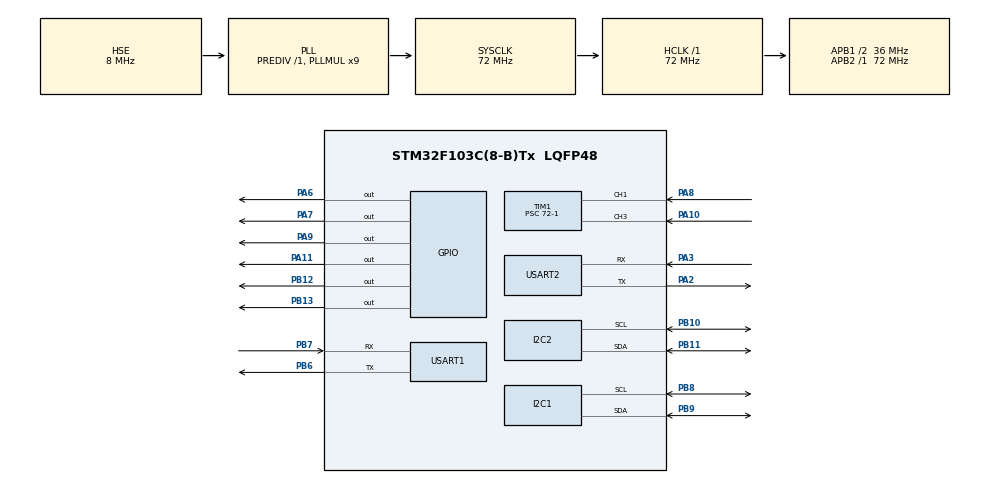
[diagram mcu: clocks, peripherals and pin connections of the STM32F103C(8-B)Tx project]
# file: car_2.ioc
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I2C1.I2C_Mode=I2C_Fast
I2C2.I2C_Mode=I2C_Fast
Mcu.Family=STM32F1
Mcu.Name=STM32F103C(8-B)Tx
Mcu.Package=LQFP48
NVIC.PriorityGroup=NVIC_PRIORITYGROUP_4
NVIC.TIM1_CC_IRQn=true\:0\:0\:false\:false\:true\:true\:true\:true
NVIC.USART1_IRQn=true\:0\:0\:false\:false\:true\:true\:true\:true
NVIC.USART2_IRQn=true\:0\:0\:false\:false\:true\:true\:true\:true
PA10.Signal=S_TIM1_CH3
PA11.Signal=GPIO_Output
PA13.Mode=Serial_Wire
PA13.Signal=SYS_JTMS-SWDIO
PA14.Mode=Serial_Wire
PA14.Signal=SYS_JTCK-SWCLK
PA2.Mode=Asynchronous
PA2.Signal=USART2_TX
PA3.Mode=Asynchronous
PA3.Signal=USART2_RX
PA6.Signal=GPIO_Output
PA7.Signal=GPIO_Output
PA8.Signal=S_TIM1_CH1
PA9.Signal=GPIO_Output
PB10.Mode=I2C
PB10.Signal=I2C2_SCL
PB11.Mode=I2C
PB11.Signal=I2C2_SDA
PB12.Signal=GPIO_Output
PB13.Signal=GPIO_Output
PB6.Mode=Asynchronous
PB6.Signal=USART1_TX
PB7.Mode=Asynchronous
PB7.Signal=USART1_RX
PB8.Mode=I2C
PB8.Signal=I2C1_SCL
PB9.Mode=I2C
PB9.Signal=I2C1_SDA
PD0-OSC_IN.Mode=HSE-External-Oscillator
PD0-OSC_IN.Signal=RCC_OSC_IN
PD1-OSC_OUT.Mode=HSE-External-Oscillator
PD1-OSC_OUT.Signal=RCC_OSC_OUT
ProjectManager.HeapSize=0x200
ProjectManager.StackSize=0x400
ProjectManager.TargetToolchain=MDK-ARM V5.32
RCC.AHBFreq_Value=72000000
RCC.APB1CLKDivider=RCC_HCLK_DIV2
RCC.APB1Freq_Value=36000000
RCC.APB1TimFreq_Value=72000000
RCC.APB2Freq_Value=72000000
RCC.APB2TimFreq_Value=72000000
RCC.HCLKFreq_Value=72000000
RCC.PLLMUL=RCC_PLL_MUL9
RCC.PLLSourceVirtual=RCC_PLLSOURCE_HSE
RCC.SYSCLKFreq_VALUE=72000000
RCC.SYSCLKSource=RCC_SYSCLKSOURCE_PLLCLK
RCC.USBFreq_Value=72000000
SH.S_TIM1_CH1.0=TIM1_CH1,Input_Capture1_from_TI1
SH.S_TIM1_CH3.0=TIM1_CH3,Input_Capture3_from_TI3
TIM1.Channel-Input_Capture1_from_TI1=TIM_CHANNEL_1
TIM1.Channel-Input_Capture2_from_TI1_63=TIM_CHANNEL_2
TIM1.Channel-Input_Capture3_from_TI3=TIM_CHANNEL_3
TIM1.Channel-Input_Capture4_from_TI3_63=TIM_CHANNEL_4
TIM1.ICPolarity_CH2=TIM_INPUTCHANNELPOLARITY_FALLING
TIM1.ICPolarity_CH4=TIM_INPUTCHANNELPOLARITY_FALLING
TIM1.Prescaler=72-1
USART1.VirtualMode=VM_ASYNC
USART2.VirtualMode=VM_ASYNC
VP_TIM1_VS_ClockSourceINT.Mode=Internal
VP_TIM1_VS_indirect_ch1.Mode=Input_Capture2_from_TI1_63
VP_TIM1_VS_indirect_ch3.Mode=Input_Capture4_from_TI3_63
VP_TIM2_VS_ClockSourceINT.Mode=Internal
board=custom

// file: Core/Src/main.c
/* USER CODE BEGIN Header */
/**
  ******************************************************************************
  * @file           : main.c
  * @brief          : Main program body
  ******************************************************************************
  * @attention
  *
  * Copyright (c) 2026 STMicroelectronics.
  * All rights reserved.
  *
  * This software is licensed under terms that can be found in the LICENSE file
  * in the root directory of this software component.
  * If no LICENSE file comes with this software, it is provided AS-IS.
  *
  ******************************************************************************
  */
/* USER CODE END Header */
#include "main.h"
#include "i2c.h"
#include "tim.h"
#include "usart.h"
#include "gpio.h"

/* USER CODE BEGIN Includes */
#include "oled.h"
#include "stdio.h"
#include "font.h"
#include "mycode.h"
#include "math.h"
/* USER CODE END Includes */

void SystemClock_Config(void);

/* USER CODE BEGIN 0 */
uint32_t upEdge_1=0;
uint32_t downEdge_1=0;
uint32_t upEdge_2=0;
uint32_t downEdge_2=0;
float distance=0;
float distance_2=0;

float new_distance=0;
float new_distance_2=0;

#define MAX_DELTA 50.0f

float fliter_distance_2=0;

void HAL_TIM_IC_CaptureCallback(TIM_HandleTypeDef *htim)
{
	if(htim==&htim1 && htim->Channel==HAL_TIM_ACTIVE_CHANNEL_4)
	{
		upEdge_1=HAL_TIM_ReadCapturedValue(htim,TIM_CHANNEL_3);
		downEdge_1=HAL_TIM_ReadCapturedValue(htim,TIM_CHANNEL_4);
		float raw_distance_1 = (downEdge_1 - upEdge_1) * 0.034f / 2.0f;

        // 1. 一阶互补滤波
        static uint8_t first_filter_1 = 1;
        static float last_filtered_1 = 0;
        if (first_filter_1)
        {
            last_filtered_1 = raw_distance_1;  // 首次测量直接初始化
            first_filter_1 = 0;
        }
        else
        {
            last_filtered_1 = last_filtered_1 * 0.7f + raw_distance_1 * 0.3f;  // 滤波公式
        }

        // 2. 限幅滤波
        static uint8_t first_limit_1 = 1;
        static float last_valid_1 = 0;
        if (first_limit_1)
        {
            distance = last_filtered_1;  // 首次限幅直接初始化
            last_valid_1 = last_filtered_1;
            first_limit_1 = 0;
        }
        else
        {
            float delta = fabs(last_filtered_1 - last_valid_1);  // 计算与上一次有效值的差值
            if (delta <= MAX_DELTA)
            {
                distance = last_filtered_1;  // 变化在允许范围内，接受新值
                last_valid_1 = last_filtered_1;
            }
            else
            {
                distance = last_valid_1;  // 变化过大，保持上一次有效值（丢弃突变）
                // 可选：若希望缓慢趋近真实值，可替换为：
                // distance = last_valid_1 + (last_filtered_1 > last_valid_1 ? MAX_DELTA : -MAX_DELTA);
                // last_valid_1 = distance;
            }
        }

	}
	if(htim==&htim1 && htim->Channel==HAL_TIM_ACTIVE_CHANNEL_2)
	{
		upEdge_2=HAL_TIM_ReadCapturedValue(htim,TIM_CHANNEL_1);
		downEdge_2=HAL_TIM_ReadCapturedValue(htim,TIM_CHANNEL_2);
		float raw_distance_2 = (downEdge_2 - upEdge_2) * 0.034f / 2.0f;

        // 1. 一阶互补滤波
        static uint8_t first_filter_2 = 1;
        static float last_filtered_2 = 0;
        if (first_filter_2)
        {
            last_filtered_2 = raw_distance_2;
            first_filter_2 = 0;
        }
        else
        {
            last_filtered_2 = last_filtered_2 * 0.7f + raw_distance_2 * 0.3f;
        }

        // 2. 限幅滤波
        static uint8_t first_limit_2 = 1;
        static float last_valid_2 = 0;
        if (first_limit_2)
        {
            distance_2 = last_filtered_2;
            last_valid_2 = last_filtered_2;
            first_limit_2 = 0;
        }
        else
        {
            float delta = fabs(last_filtered_2 - last_valid_2);
            if (delta <= MAX_DELTA)
            {
                distance_2 = last_filtered_2;
                last_valid_2 = last_filtered_2;
            }
            else
            {
                distance_2 = last_valid_2;  // 变化过大，保持上一次有效值
            }
        }
	}
}
/* USER CODE END 0 */

int main(void)
{

  /* MCU Configuration--------------------------------------------------------*/

  /* Reset of all peripherals, Initializes the Flash interface and the Systick. */
  HAL_Init();

  /* Configure the system clock */
  SystemClock_Config();

  /* Initialize all configured peripherals */
  MX_GPIO_Init();
  MX_TIM1_Init();
  MX_I2C2_Init();
  MX_I2C1_Init();
  MX_USART2_UART_Init();
  MX_USART1_UART_Init();
  MX_TIM2_Init();
  /* USER CODE BEGIN 2 */
  HAL_Delay(100);
  OLED_Init();
  HAL_TIM_Base_Start(&htim1);
  HAL_TIM_IC_Start(&htim1,TIM_CHANNEL_3);
  HAL_TIM_IC_Start_IT(&htim1,TIM_CHANNEL_4);
  HAL_TIM_IC_Start(&htim1,TIM_CHANNEL_1);
  HAL_TIM_IC_Start_IT(&htim1,TIM_CHANNEL_2);

  char message[20]="";
  char message_2[20]="";
  char CarState[20]="";
  char CarState_2[20]="";
  char Time[20]="";
  char Time_2[20]="";
  char Money[20]="";
  char Money_2[20]="";
  uint32_t busy_start_time = 0;
  uint32_t busy_start_time2 = 0;
  uint8_t is_busy1 = 0;
  uint8_t is_busy2=0;
  uint32_t busy_duration1 = 0;
  uint32_t busy_duration2 = 0;
  uint32_t leave_time1 = 0;
  uint8_t waiting_clear1 = 0;
  uint32_t leave_time2 = 0;
  uint8_t waiting_clear2 = 0;
  float money1=0;
  float money2=0;
      int8_t debounce1 = 0;
      int8_t debounce2 = 0;
#define DEBOUNCE_MAX 5

  mycode_init();
  uint16_t counter = 0;
  char cmd_buf[512];
  uint8_t send_flag = 0;
  static uint32_t last_time = 0;

  /* USER CODE END 2 */

  /* Infinite loop */
  /* USER CODE BEGIN WHILE */
  while (1)
  {

	 uint32_t now = HAL_GetTick();

	  HAL_GPIO_WritePin(GPIOA,GPIO_PIN_9,GPIO_PIN_SET);
	  HAL_Delay(1);
	  HAL_GPIO_WritePin(GPIOA,GPIO_PIN_9,GPIO_PIN_RESET);
	  __HAL_TIM_SET_COUNTER(&htim1, 0);

	  HAL_GPIO_WritePin(GPIOA,GPIO_PIN_11,GPIO_PIN_SET);
	  HAL_Delay(1);
	  HAL_GPIO_WritePin(GPIOA,GPIO_PIN_11,GPIO_PIN_RESET);
	  __HAL_TIM_SET_COUNTER(&htim1, 0);
	  //HAL_Delay(30);

	  //HAL_Delay(30);
	  //__HAL_TIM_SET_COUNTER(&htim1,0);

	  sprintf(message,"%.2fcm",distance);
	  sprintf(message_2,"%.2fcm",distance_2);
          // Debounce counter for sensor 1
          if(distance <= 5 && distance > 0)
          {
              if(debounce1 < DEBOUNCE_MAX) debounce1++;
          }
          else
          {
              if(debounce1 > -DEBOUNCE_MAX) debounce1--;
          }

          // State decision with hysteresis
          if(debounce1 >= DEBOUNCE_MAX)
          {
              if(is_busy1 == 0)
              {
                  is_busy1 = 1;
                  busy_start_time = now;
              }
              waiting_clear1 = 0;
              busy_duration1 = now - busy_start_time;
              money1 = busy_duration1 / 1000 * 0.02;
              sprintf(CarState,"占用");
              HAL_GPIO_WritePin(GPIOA,GPIO_PIN_7,GPIO_PIN_SET);
              HAL_GPIO_WritePin(GPIOA,GPIO_PIN_6,GPIO_PIN_RESET);
          }
          else if(debounce1 <= -DEBOUNCE_MAX)
          {
              if(is_busy1 == 1)
              {
                  is_busy1 = 0;
                  leave_time1 = now;
                  waiting_clear1 = 1;
              }
              if(waiting_clear1 && (now - leave_time1 >= 3000))
              {
                  busy_duration1 = 0;
                  money1 = 0;
                  waiting_clear1 = 0;
              }
              sprintf(CarState,"空闲");
              HAL_GPIO_WritePin(GPIOA,GPIO_PIN_6,GPIO_PIN_SET);
              HAL_GPIO_WritePin(GPIOA,GPIO_PIN_7,GPIO_PIN_RESET);
          }
          else
          {
              // Transition zone: maintain counting if previously busy
              if(is_busy1 == 1)
              {
                  busy_duration1 = now - busy_start_time;
                  money1 = busy_duration1 / 1000 * 0.02;
              }
              else if(waiting_clear1 && (now - leave_time1 >= 3000))
              {
                  busy_duration1 = 0;
                  money1 = 0;
                  waiting_clear1 = 0;
              }
          }

          // Debounce counter for sensor 2
          if(distance_2 <= 5 && distance_2 > 0)
          {
              if(debounce2 < DEBOUNCE_MAX) debounce2++;
          }
          else
          {
              if(debounce2 > -DEBOUNCE_MAX) debounce2--;
          }

          // State decision with hysteresis
          if(debounce2 >= DEBOUNCE_MAX)
          {
              if(is_busy2 == 0)
              {
                  is_busy2 = 1;
                  busy_start_time2 = now;
              }
              waiting_clear2 = 0;
              busy_duration2 = now - busy_start_time2;
              money2 = busy_duration2 / 1000 * 0.02;
              sprintf(CarState_2,"占用");
              HAL_GPIO_WritePin(GPIOB,GPIO_PIN_13,GPIO_PIN_SET);
              HAL_GPIO_WritePin(GPIOB,GPIO_PIN_12,GPIO_PIN_RESET);
          }
          else if(debounce2 <= -DEBOUNCE_MAX)
          {
              if(is_busy2 == 1)
              {
                  is_busy2 = 0;
                  leave_time2 = now;
                  waiting_clear2 = 1;
              }
              if(waiting_clear2 && (now - leave_time2 >= 3000))
              {
                  busy_duration2 = 0;
                  money2 = 0;
                  waiting_clear2 = 0;
              }
              sprintf(CarState_2,"空闲");
              HAL_GPIO_WritePin(GPIOB,GPIO_PIN_12,GPIO_PIN_SET);
              HAL_GPIO_WritePin(GPIOB,GPIO_PIN_13,GPIO_PIN_RESET);
          }
          else
          {
              // Transition zone: maintain counting if previously busy
              if(is_busy2 == 1)
              {
                  busy_duration2 = now - busy_start_time2;
                  money2 = busy_duration2 / 1000 * 0.02;
              }
              else if(waiting_clear2 && (now - leave_time2 >= 3000))
              {
                  busy_duration2 = 0;
                  money2 = 0;
                  waiting_clear2 = 0;
              }
          }
	  uint16_t sec1 = busy_duration1 / 1000;

      uint16_t min1 = sec1 / 60;
      sec1 = sec1 % 60;
	  uint16_t sec2 = busy_duration2 / 1000;
      uint16_t min2 = sec2 / 60;
      sec2 = sec2 % 60;
	if (HAL_GetTick() - last_time >= 400) {  // 每 400ms 执行一
		 last_time = HAL_GetTick();
            if (send_flag == 0) {
                send_flag = 1;

                // 构建 OneNet 数据包
                Build_OneNet_Cmd(cmd_buf, TOPIC_POST , "123", 3,
                                 "B1", 'b', is_busy1,
                                 "T1", 'i', busy_duration1 / 1000,
                                 "M1", 'f', money1);

                // 发送数据
                uart_print(&huart1, "%s", cmd_buf);
				HAL_Delay(50);

				Build_OneNet_Cmd(cmd_buf, TOPIC_POST , "123", 3,
                                 "B2", 'b', is_busy2,
                                 "T2", 'i', busy_duration2 / 1000,
                                 "M2", 'f', money2);

                // 发送数据
                uart_print(&huart1, "%s", cmd_buf);
            }
        } else {
            send_flag = 0;
        }

	  sprintf(Time,"%d分:%d秒",min1,sec1);
	  sprintf(Time_2,"%d分:%d秒",min2,sec2);
	  sprintf(Money,"%0.2f元",money1);
	  sprintf(Money_2,"%0.2f元",money2);

	  if (openmv_data_ready) openmv_data_ready = 0;
	  char openmv_str[16];
	  sprintf(openmv_str, "OpenMV:%d", openmv_number);

	  OLED_NewFrame();

	  OLED_PrintString(0,0,CarState,&font16x16,OLED_COLOR_NORMAL);
	  OLED_PrintASCIIString(48, 0, openmv_str, &afont16x8, OLED_COLOR_NORMAL);
	  OLED_PrintString(0,16,Time,&font16x16,OLED_COLOR_NORMAL);
	  OLED_PrintString(0,32,Money,&font16x16,OLED_COLOR_NORMAL);
	  OLED_PrintString(0,48,message,&font16x16,OLED_COLOR_NORMAL);
	  OLED_ShowFrame2();

	  OLED_NewFrame();
	  OLED_PrintString(0,0,CarState_2,&font16x16,OLED_COLOR_NORMAL);
	  OLED_PrintASCIIString(48, 0, openmv_str, &afont16x8, OLED_COLOR_NORMAL);
	  OLED_PrintString(0,16,Time_2,&font16x16,OLED_COLOR_NORMAL);
	  OLED_PrintString(0,32,Money_2,&font16x16,OLED_COLOR_NORMAL);
	  OLED_PrintString(0,48,message_2,&font16x16,OLED_COLOR_NORMAL);
	  OLED_ShowFrame1();

    /* USER CODE END WHILE */

  }
}

void SystemClock_Config(void)
{
  RCC_OscInitTypeDef RCC_OscInitStruct = {0};
  RCC_ClkInitTypeDef RCC_ClkInitStruct = {0};

  /** Initializes the RCC Oscillators according to the specified parameters
  * in the RCC_OscInitTypeDef structure.
  */
  RCC_OscInitStruct.OscillatorType = RCC_OSCILLATORTYPE_HSE;
  RCC_OscInitStruct.HSEState = RCC_HSE_ON;
  RCC_OscInitStruct.HSEPredivValue = RCC_HSE_PREDIV_DIV1;
  RCC_OscInitStruct.HSIState = RCC_HSI_ON;
  RCC_OscInitStruct.PLL.PLLState = RCC_PLL_ON;
  RCC_OscInitStruct.PLL.PLLSource = RCC_PLLSOURCE_HSE;
  RCC_OscInitStruct.PLL.PLLMUL = RCC_PLL_MUL9;
  if (HAL_RCC_OscConfig(&RCC_OscInitStruct) != HAL_OK)
  {
    Error_Handler();
  }

  /** Initializes the CPU, AHB and APB buses clocks
  */
  RCC_ClkInitStruct.ClockType = RCC_CLOCKTYPE_HCLK|RCC_CLOCKTYPE_SYSCLK
                              |RCC_CLOCKTYPE_PCLK1|RCC_CLOCKTYPE_PCLK2;
  RCC_ClkInitStruct.SYSCLKSource = RCC_SYSCLKSOURCE_PLLCLK;
  RCC_ClkInitStruct.AHBCLKDivider = RCC_SYSCLK_DIV1;
  RCC_ClkInitStruct.APB1CLKDivider = RCC_HCLK_DIV2;
  RCC_ClkInitStruct.APB2CLKDivider = RCC_HCLK_DIV1;

  if (HAL_RCC_ClockConfig(&RCC_ClkInitStruct, FLASH_LATENCY_2) != HAL_OK)
  {
    Error_Handler();
  }
}

void Error_Handler(void)
{
  __disable_irq();
  while (1)
  {
  }
}
